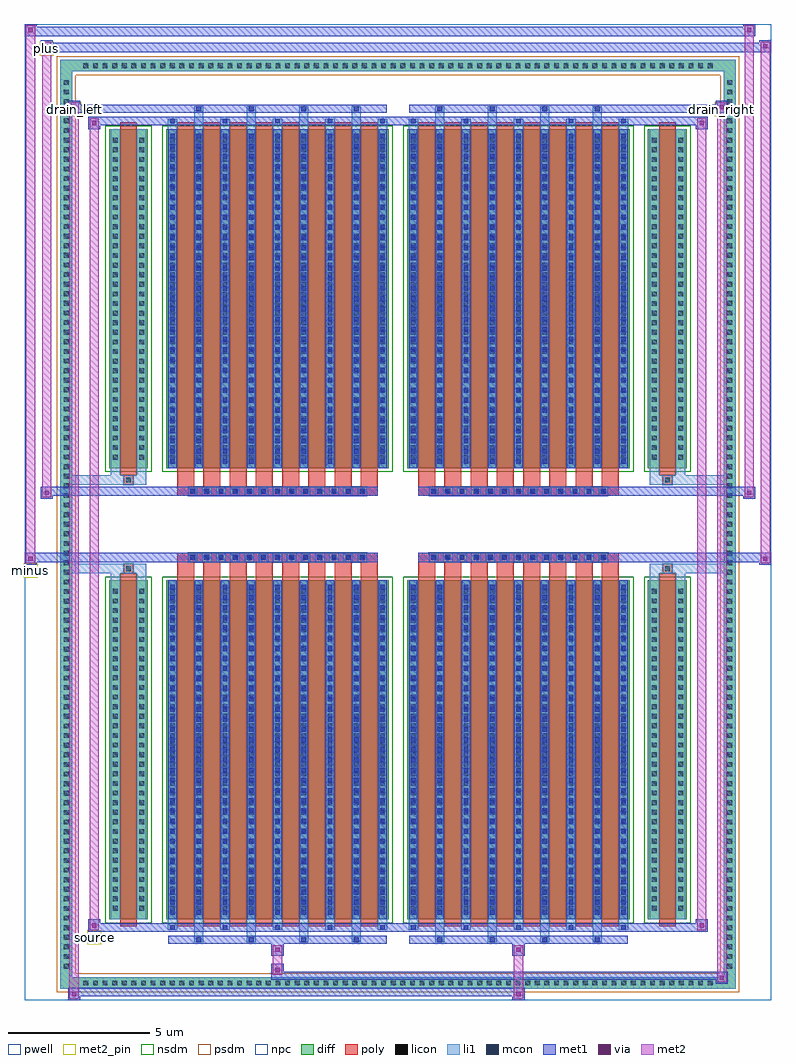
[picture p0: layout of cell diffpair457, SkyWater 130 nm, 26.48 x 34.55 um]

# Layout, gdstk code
import gdstk
lib = gdstk.Library(unit=1e-6, precision=5e-09)
def R(c, l, rs):  # rectangles x0, y0, x1, y1
    for r in rs: c.add(gdstk.rectangle(r[:2], r[2:], *l))
def A(c, l, x, y, w, h, nx, ny, dx, dy):  # array of equal rectangles
    R(c, l, [(x+i*dx, y+j*dy, x+i*dx+w, y+j*dy+h) for i in range(nx) for j in range(ny)])
def P(c, l, *ps):  # polygons
    for p in ps: c.add(gdstk.Polygon(p, *l))
pwell = (64, 44)
diff = (65, 20)
poly = (66, 20)
licon = (66, 44)
li1 = (67, 20)
mcon = (67, 44)
met1 = (68, 20)
via = (68, 44)
met2_pin = (69, 16)
met2 = (69, 20)
nsdm = (93, 44)
psdm = (94, 20)
npc = (95, 20)

diffpair457 = lib.new_cell('diffpair457')
R(diffpair457, pwell, [(-13.22,-16.84,13.22,17.71), (-10.54,-15.03,-0.01,-0.805), (0.01,-15.03,10.54,-0.805), (-10.54,0.805,-0.01,15.03), (0.01,0.805,10.54,15.03)])
A(diffpair457, diff, -11.255, -16.44, 0.41, 0.41, 66, 2, 0.34, 32.47)
A(diffpair457, diff, -11.95, -15.845, 0.41, 0.41, 1, 93, 0, 0.34)
A(diffpair457, diff, 11.54, -15.845, 0.41, 0.41, 1, 93, 0, 0.34)
R(diffpair457, diff, [(-11.255,-16.44,11.255,-16.03), (-11.95,-15.845,-11.54,15.845), (11.54,-15.845,11.95,15.845), (-10.23,-13.985,-8.85,-1.985), (-8.21,-13.985,-0.32,-1.985), (0.32,-13.985,8.21,-1.985), (8.85,-13.985,10.23,-1.985), (-10.23,1.985,-8.85,13.985), (-8.21,1.985,-0.32,13.985), (0.32,1.985,8.21,13.985), (8.85,1.985,10.23,13.985), (-11.255,16.03,11.255,16.44)])
P(diffpair457, diff, [(11.95,16.44),(-11.95,16.44),(-11.95,-16.03),(-11.54,-16.03),(-11.54,16.03),(11.54,16.03),(11.54,-16.03),(-11.54,-16.03),(-11.95,-16.03),(-11.95,-16.44),(11.95,-16.44)])
A(diffpair457, poly, -7.82, -14.235, 0.6, 12.5, 8, 2, 0.93, 15.97)
A(diffpair457, poly, 0.71, -14.235, 0.6, 12.5, 8, 2, 0.93, 15.97)
A(diffpair457, poly, -7.82, -1.735, 0.6, 0.4, 8, 2, 0.93, 3.07)
A(diffpair457, poly, 0.71, -1.735, 0.6, 0.4, 8, 2, 0.93, 3.07)
A(diffpair457, poly, -7.43, -1.335, 0.33, 0.33, 13, 2, 0.5, 2.34)
A(diffpair457, poly, 1.1, -1.335, 0.33, 0.33, 13, 2, 0.5, 2.34)
R(diffpair457, poly, [(-9.84,-14.235,-9.24,-1.735), (9.24,-14.235,9.84,-1.735), (-9.705,-1.735,-9.375,-1.405), (-9.705,-1.735,-9.375,-1.405), (9.375,-1.735,9.705,-1.405), (9.375,-1.735,9.705,-1.405), (-7.82,-1.335,-0.71,-1.005), (0.71,-1.335,7.82,-1.005), (-7.82,1.005,-0.71,1.335), (0.71,1.005,7.82,1.335), (-9.705,1.405,-9.375,1.735), (-9.705,1.405,-9.375,1.735), (9.375,1.405,9.705,1.735), (9.375,1.405,9.705,1.735), (-9.84,1.735,-9.24,14.235), (9.24,1.735,9.84,14.235)])
A(diffpair457, licon, -11.135, -16.32, 0.17, 0.17, 66, 2, 0.34, 32.47)
A(diffpair457, licon, -11.83, -15.725, 0.17, 0.17, 1, 93, 0, 0.34)
A(diffpair457, licon, 11.66, -15.725, 0.17, 0.17, 1, 93, 0, 0.34)
A(diffpair457, licon, -10.09, -13.68, 0.17, 0.17, 1, 34, 0, 0.34)
A(diffpair457, licon, -9.16, -13.68, 0.17, 0.17, 1, 34, 0, 0.34)
A(diffpair457, licon, -8.07, -13.68, 0.17, 0.17, 9, 34, 0.93, 0.34)
A(diffpair457, licon, 0.46, -13.68, 0.17, 0.17, 9, 34, 0.93, 0.34)
A(diffpair457, licon, 8.99, -13.68, 0.17, 0.17, 1, 34, 0, 0.34)
A(diffpair457, licon, 9.92, -13.68, 0.17, 0.17, 1, 34, 0, 0.34)
A(diffpair457, licon, -7.35, -1.255, 0.17, 0.17, 13, 2, 0.5, 2.34)
A(diffpair457, licon, 1.18, -1.255, 0.17, 0.17, 13, 2, 0.5, 2.34)
A(diffpair457, licon, -10.09, 2.29, 0.17, 0.17, 1, 34, 0, 0.34)
A(diffpair457, licon, -9.16, 2.29, 0.17, 0.17, 1, 34, 0, 0.34)
A(diffpair457, licon, -8.07, 2.29, 0.17, 0.17, 9, 34, 0.93, 0.34)
A(diffpair457, licon, 0.46, 2.29, 0.17, 0.17, 9, 34, 0.93, 0.34)
A(diffpair457, licon, 8.99, 2.29, 0.17, 0.17, 1, 34, 0, 0.34)
A(diffpair457, licon, 9.92, 2.29, 0.17, 0.17, 1, 34, 0, 0.34)
R(diffpair457, licon, [(-9.625,-1.655,-9.455,-1.485), (9.455,-1.655,9.625,-1.485), (-9.625,1.485,-9.455,1.655), (9.455,1.485,9.625,1.655)])
A(diffpair457, li1, -11.215, -16.4, 0.33, 0.33, 66, 2, 0.34, 32.47)
A(diffpair457, li1, -11.91, -15.805, 0.33, 0.33, 1, 93, 0, 0.34)
A(diffpair457, li1, 11.58, -15.805, 0.33, 0.33, 1, 93, 0, 0.34)
A(diffpair457, li1, -7.22, -14.79, 0.33, 0.805, 4, 2, 1.86, 28.775)
A(diffpair457, li1, -7.14, -14.79, 0.17, 0.17, 4, 2, 1.86, 29.41)
A(diffpair457, li1, 1.31, -14.79, 0.33, 0.805, 4, 2, 1.86, 28.775)
A(diffpair457, li1, 1.39, -14.79, 0.17, 0.17, 4, 2, 1.86, 29.41)
A(diffpair457, li1, -8.15, -14.36, 0.33, 0.375, 5, 2, 1.86, 28.345)
A(diffpair457, li1, -8.07, -14.36, 0.17, 0.17, 5, 2, 1.86, 28.55)
A(diffpair457, li1, 0.38, -14.36, 0.33, 0.375, 5, 2, 1.86, 28.345)
A(diffpair457, li1, 0.46, -14.36, 0.17, 0.17, 5, 2, 1.86, 28.55)
A(diffpair457, li1, -8.15, -13.985, 0.33, 12, 9, 2, 0.93, 15.97)
A(diffpair457, li1, 0.38, -13.985, 0.33, 12, 9, 2, 0.93, 15.97)
A(diffpair457, li1, -8.07, -13.83, 0.17, 0.17, 9, 33, 0.93, 0.36)
A(diffpair457, li1, -8.07, -13.83, 0.17, 11.69, 9, 2, 0.93, 15.97)
A(diffpair457, li1, 0.46, -13.83, 0.17, 0.17, 9, 33, 0.93, 0.36)
A(diffpair457, li1, 0.46, -13.83, 0.17, 11.69, 9, 2, 0.93, 15.97)
A(diffpair457, li1, -10.17, -13.76, 0.33, 0.33, 1, 34, 0, 0.34)
A(diffpair457, li1, -9.24, -13.76, 0.33, 0.33, 1, 34, 0, 0.34)
A(diffpair457, li1, -8.15, -13.76, 0.33, 0.33, 9, 34, 0.93, 0.34)
A(diffpair457, li1, 0.38, -13.76, 0.33, 0.33, 9, 34, 0.93, 0.34)
A(diffpair457, li1, 8.91, -13.76, 0.33, 0.33, 1, 34, 0, 0.34)
A(diffpair457, li1, 9.84, -13.76, 0.33, 0.33, 1, 34, 0, 0.34)
A(diffpair457, li1, -7.43, -1.335, 0.33, 0.33, 13, 2, 0.5, 2.34)
A(diffpair457, li1, 1.1, -1.335, 0.33, 0.33, 13, 2, 0.5, 2.34)
A(diffpair457, li1, -8.07, 2.14, 0.17, 0.17, 9, 33, 0.93, 0.36)
A(diffpair457, li1, 0.46, 2.14, 0.17, 0.17, 9, 33, 0.93, 0.36)
A(diffpair457, li1, -10.17, 2.21, 0.33, 0.33, 1, 34, 0, 0.34)
A(diffpair457, li1, -9.24, 2.21, 0.33, 0.33, 1, 34, 0, 0.34)
A(diffpair457, li1, -8.15, 2.21, 0.33, 0.33, 9, 34, 0.93, 0.34)
A(diffpair457, li1, 0.38, 2.21, 0.33, 0.33, 9, 34, 0.93, 0.34)
A(diffpair457, li1, 8.91, 2.21, 0.33, 0.33, 1, 34, 0, 0.34)
A(diffpair457, li1, 9.84, 2.21, 0.33, 0.33, 1, 34, 0, 0.34)
R(diffpair457, li1, [(-11.95,-16.44,-11.54,-16.03), (-11.95,-16.44,-11.54,-16.03), (-11.54,-16.44,11.54,-16.03), (11.54,-16.44,11.95,-16.03), (11.54,-16.44,11.95,-16.03), (-11.95,-16.03,-11.54,16.03), (11.54,-16.03,11.95,16.03), (-10.17,-13.985,-9.84,-1.985), (-9.24,-13.985,-8.91,-1.985), (8.91,-13.985,9.24,-1.985), (9.84,-13.985,10.17,-1.985), (-10.17,-1.985,-9.84,-1.405), (-9.24,-1.985,-8.91,-1.405), (8.91,-1.985,9.24,-1.405), (9.84,-1.985,10.17,-1.405), (-11.95,-1.735,-9.705,-1.405), (-10.17,-1.735,-9.705,-1.405), (-9.705,-1.735,-9.375,-1.405), (-9.375,-1.735,-8.91,-1.405), (8.91,-1.735,9.375,-1.405), (9.375,-1.735,9.705,-1.405), (9.375,-1.735,11.95,-1.405), (9.705,-1.735,10.17,-1.405), (-11.95,1.405,-9.705,1.735), (-10.17,1.405,-9.705,1.735), (-10.17,1.405,-9.84,1.985), (-9.705,1.405,-9.375,1.735), (-9.375,1.405,-8.91,1.735), (-9.24,1.405,-8.91,1.985), (8.91,1.405,9.375,1.735), (8.91,1.405,9.24,1.985), (9.375,1.405,9.705,1.735), (9.375,1.405,11.95,1.735), (9.705,1.405,10.17,1.735), (9.84,1.405,10.17,1.985), (-10.17,1.985,-9.84,13.985), (-9.24,1.985,-8.91,13.985), (8.91,1.985,9.24,13.985), (9.84,1.985,10.17,13.985), (-11.95,16.03,-11.54,16.44), (-11.95,16.03,-11.54,16.44), (-11.54,16.03,11.54,16.44), (11.54,16.03,11.95,16.44), (11.54,16.03,11.95,16.44)])
A(diffpair457, mcon, -7.14, -14.79, 0.17, 0.17, 4, 2, 1.86, 29.41)
A(diffpair457, mcon, 1.39, -14.79, 0.17, 0.17, 4, 2, 1.86, 29.41)
A(diffpair457, mcon, -8.07, -14.36, 0.17, 0.17, 5, 2, 1.86, 28.55)
A(diffpair457, mcon, 0.46, -14.36, 0.17, 0.17, 5, 2, 1.86, 28.55)
A(diffpair457, mcon, -8.07, -13.83, 0.17, 0.17, 9, 33, 0.93, 0.36)
A(diffpair457, mcon, 0.46, -13.83, 0.17, 0.17, 9, 33, 0.93, 0.36)
A(diffpair457, mcon, -7.35, -1.255, 0.17, 0.17, 13, 2, 0.5, 2.34)
A(diffpair457, mcon, 1.18, -1.255, 0.17, 0.17, 13, 2, 0.5, 2.34)
A(diffpair457, mcon, -8.07, 2.14, 0.17, 0.17, 9, 33, 0.93, 0.36)
A(diffpair457, mcon, 0.46, 2.14, 0.17, 0.17, 9, 33, 0.93, 0.36)
A(diffpair457, met1, -7.2, -14.85, 0.29, 0.29, 4, 2, 1.86, 29.41)
A(diffpair457, met1, 1.33, -14.85, 0.29, 0.29, 4, 2, 1.86, 29.41)
A(diffpair457, met1, -8.13, -14.42, 0.29, 0.29, 5, 2, 1.86, 28.55)
A(diffpair457, met1, 0.4, -14.42, 0.29, 0.29, 5, 2, 1.86, 28.55)
A(diffpair457, met1, -8.13, -13.985, 0.29, 12, 9, 2, 0.93, 15.97)
A(diffpair457, met1, 0.4, -13.985, 0.29, 12, 9, 2, 0.93, 15.97)
A(diffpair457, met1, -8.13, -13.89, 0.29, 0.29, 9, 33, 0.93, 0.36)
A(diffpair457, met1, 0.4, -13.89, 0.29, 0.29, 9, 33, 0.93, 0.36)
A(diffpair457, met1, -7.41, -1.315, 0.29, 0.29, 13, 2, 0.5, 2.34)
A(diffpair457, met1, 1.12, -1.315, 0.29, 0.29, 13, 2, 0.5, 2.34)
A(diffpair457, met1, -8.13, 2.08, 0.29, 0.29, 9, 33, 0.93, 0.36)
A(diffpair457, met1, 0.4, 2.08, 0.29, 0.29, 9, 33, 0.93, 0.36)
R(diffpair457, met1, [(-11.68,-16.84,-11.25,-16.41), (4.05,-16.84,4.48,-16.41), (-11.68,-16.7,4.48,-16.41), (11.25,-16.27,11.68,-15.84), (-4.48,-16.13,11.68,-15.84), (-4.48,-15.99,-4.05,-15.56), (-4.48,-15.28,-4.05,-14.85), (4.05,-15.28,4.48,-14.85), (-8.13,-14.85,-0.4,-14.56), (0.4,-14.85,8.13,-14.56), (-10.97,-14.42,-10.54,-13.99), (-10.97,-14.42,-8.13,-14.13), (-8.13,-14.42,-0.4,-14.13), (-0.4,-14.42,0.4,-14.13), (0.4,-14.42,8.13,-14.13), (8.13,-14.42,10.97,-14.13), (10.54,-14.42,10.97,-13.99), (-13.22,-1.435,-12.79,-1.005), (12.79,-1.435,13.22,-1.005), (-13.22,-1.335,-0.71,-1.005), (-7.82,-1.335,-0.71,-1.005), (0.71,-1.335,7.82,-1.005), (0.71,-1.335,13.22,-1.005), (-12.65,0.905,-12.22,1.335), (12.22,0.905,12.65,1.335), (-12.65,1.005,-7.82,1.335), (-7.82,1.005,-0.71,1.335), (0.71,1.005,7.82,1.335), (7.82,1.005,12.65,1.335), (-10.97,13.99,-10.54,14.42), (10.54,13.99,10.97,14.42), (-10.97,14.13,-8.13,14.42), (-8.13,14.13,-0.4,14.42), (-0.4,14.13,0.4,14.42), (0.4,14.13,8.13,14.42), (8.13,14.13,10.97,14.42), (-11.68,14.56,-11.25,14.99), (-11.68,14.56,-8.13,14.85), (-8.13,14.56,-0.4,14.85), (0.4,14.56,8.13,14.85), (8.13,14.56,11.68,14.85), (11.25,14.56,11.68,14.99), (-12.65,16.71,-12.22,17.14), (-12.65,16.71,-10.54,17.04), (-10.54,16.71,10.54,17.04), (10.54,16.71,13.22,17.04), (12.79,16.71,13.22,17.14), (-13.22,17.28,-12.79,17.71), (-13.22,17.28,-10.54,17.61), (-10.54,17.28,10.54,17.61), (10.54,17.28,12.65,17.61), (12.22,17.28,12.65,17.71)])
R(diffpair457, via, [(-11.54,-16.7,-11.39,-16.55), (4.19,-16.7,4.34,-16.55), (11.39,-16.13,11.54,-15.98), (-4.34,-15.85,-4.19,-15.7), (-4.34,-15.14,-4.19,-14.99), (4.19,-15.14,4.34,-14.99), (-10.83,-14.28,-10.68,-14.13), (10.68,-14.28,10.83,-14.13), (-13.08,-1.295,-12.93,-1.145), (12.93,-1.295,13.08,-1.145), (-12.51,1.045,-12.36,1.195), (12.36,1.045,12.51,1.195), (-10.83,14.13,-10.68,14.28), (10.68,14.13,10.83,14.28), (-11.54,14.7,-11.39,14.85), (11.39,14.7,11.54,14.85), (-12.51,16.85,-12.36,17), (12.93,16.85,13.08,17), (-13.08,17.42,-12.93,17.57), (12.36,17.42,12.51,17.57)])
R(diffpair457, met2_pin, [(-11.005,-14.87,-10.505,-14.37), (-13.255,-1.885,-12.755,-1.385), (-11.715,14.44,-11.215,14.94), (11.215,14.44,11.715,14.94), (-12.685,16.59,-12.185,17.09)])
R(diffpair457, met2, [(-11.63,-16.79,-11.3,-16.46), (-11.63,-16.79,-11.3,14.94), (4.1,-16.79,4.43,-16.46), (4.1,-16.46,4.43,-15.23), (11.3,-16.22,11.63,-15.89), (11.3,-16.22,11.63,14.94), (-4.43,-15.94,-4.1,-15.61), (-4.43,-15.61,-4.1,-15.23), (-4.43,-15.23,-4.1,-14.9), (4.1,-15.23,4.43,-14.9), (-10.92,-14.37,-10.59,-14.04), (-10.92,-14.37,-10.59,14.37), (10.59,-14.37,10.92,-14.04), (10.59,-14.37,10.92,14.37), (-13.17,-1.385,-12.84,-1.055), (-13.17,-1.385,-12.84,17.66), (12.84,-1.385,13.17,-1.055), (12.84,-1.385,13.17,17.09), (-12.6,0.955,-12.27,1.285), (-12.6,0.955,-12.27,17.09), (12.27,0.955,12.6,1.285), (12.27,0.955,12.6,17.66), (-10.92,14.04,-10.59,14.37), (10.59,14.04,10.92,14.37), (-11.63,14.61,-11.3,14.94), (11.3,14.61,11.63,14.94), (-12.6,16.76,-12.27,17.09), (12.84,16.76,13.17,17.09), (-13.17,17.33,-12.84,17.66), (12.27,17.33,12.6,17.66)])
P(diffpair457, met2, [(13.17,-1.385),(13.17,-1.385),(13.17,-1.055),(13.17,-1.055)],
  [(13.17,16.76),(13.17,16.76),(13.17,17.09),(13.17,17.09)],
  [(-12.84,-1.385),(-12.84,-1.385),(-12.84,-1.055),(-12.84,-1.055)],
  [(-12.84,17.33),(-12.84,17.33),(-12.84,17.66),(-12.84,17.66)],
  [(12.6,0.955),(12.6,0.955),(12.6,1.285),(12.6,1.285)],
  [(12.6,17.33),(12.6,17.33),(12.6,17.66),(12.6,17.66)],
  [(-12.27,0.955),(-12.27,0.955),(-12.27,1.285),(-12.27,1.285)],
  [(-12.27,16.76),(-12.27,16.76),(-12.27,17.09),(-12.27,17.09)],
  [(-11.3,-16.79),(-11.3,-16.79),(-11.3,-16.46),(-11.3,-16.46)],
  [(-11.3,14.61),(-11.3,14.61),(-11.3,14.94),(-11.3,14.94)],
  [(11.63,-16.22),(11.63,-16.22),(11.63,-15.89),(11.63,-15.89)],
  [(11.63,14.61),(11.63,14.61),(11.63,14.94),(11.63,14.94)],
  [(-10.59,-14.37),(-10.59,-14.37),(-10.59,-14.04),(-10.59,-14.04)],
  [(-10.59,14.04),(-10.59,14.04),(-10.59,14.37),(-10.59,14.37)],
  [(10.92,-14.37),(10.92,-14.37),(10.92,-14.04),(10.92,-14.04)],
  [(10.92,14.04),(10.92,14.04),(10.92,14.37),(10.92,14.37)])
R(diffpair457, nsdm, [(-10.36,-14.115,-8.72,-1.855), (-8.34,-14.115,-0.19,-1.855), (0.19,-14.115,8.34,-1.855), (8.72,-14.115,10.36,-1.855), (-10.36,1.855,-8.72,14.115), (-8.34,1.855,-0.19,14.115), (0.19,1.855,8.34,14.115), (8.72,1.855,10.36,14.115)])
P(diffpair457, psdm, [(12.08,16.57),(-12.08,16.57),(-12.08,-15.9),(-11.41,-15.9),(-11.41,15.9),(11.41,15.9),(11.41,-15.9),(-11.41,-15.9),(-12.08,-15.9),(-12.08,-16.57),(12.08,-16.57)])
A(diffpair457, npc, -7.45, -1.355, 0.37, 0.37, 13, 2, 0.5, 2.34)
A(diffpair457, npc, 1.08, -1.355, 0.37, 0.37, 13, 2, 0.5, 2.34)
R(diffpair457, npc, [(-9.725,-1.755,-9.355,-1.385), (9.355,-1.755,9.725,-1.385), (-7.45,-1.355,-6.58,-0.985), (-7.45,-1.355,-6.58,-0.985), (-6.95,-1.355,-6.08,-0.985), (-6.95,-1.355,-6.08,-0.985), (-6.45,-1.355,-5.58,-0.985), (-6.45,-1.355,-5.58,-0.985), (-5.95,-1.355,-5.08,-0.985), (-5.95,-1.355,-5.08,-0.985), (-5.45,-1.355,-4.58,-0.985), (-5.45,-1.355,-4.58,-0.985), (-4.95,-1.355,-4.08,-0.985), (-4.95,-1.355,-4.08,-0.985), (-4.45,-1.355,-3.58,-0.985), (-4.45,-1.355,-3.58,-0.985), (-3.95,-1.355,-3.08,-0.985), (-3.95,-1.355,-3.08,-0.985), (-3.45,-1.355,-2.58,-0.985), (-3.45,-1.355,-2.58,-0.985), (-2.95,-1.355,-2.08,-0.985), (-2.95,-1.355,-2.08,-0.985), (-2.45,-1.355,-1.58,-0.985), (-2.45,-1.355,-1.58,-0.985), (-1.95,-1.355,-1.08,-0.985), (-1.95,-1.355,-1.08,-0.985), (1.08,-1.355,1.95,-0.985), (1.08,-1.355,1.95,-0.985), (1.58,-1.355,2.45,-0.985), (1.58,-1.355,2.45,-0.985), (2.08,-1.355,2.95,-0.985), (2.08,-1.355,2.95,-0.985), (2.58,-1.355,3.45,-0.985), (2.58,-1.355,3.45,-0.985), (3.08,-1.355,3.95,-0.985), (3.08,-1.355,3.95,-0.985), (3.58,-1.355,4.45,-0.985), (3.58,-1.355,4.45,-0.985), (4.08,-1.355,4.95,-0.985), (4.08,-1.355,4.95,-0.985), (4.58,-1.355,5.45,-0.985), (4.58,-1.355,5.45,-0.985), (5.08,-1.355,5.95,-0.985), (5.08,-1.355,5.95,-0.985), (5.58,-1.355,6.45,-0.985), (5.58,-1.355,6.45,-0.985), (6.08,-1.355,6.95,-0.985), (6.08,-1.355,6.95,-0.985), (6.58,-1.355,7.45,-0.985), (6.58,-1.355,7.45,-0.985), (-7.45,0.985,-6.58,1.355), (-7.45,0.985,-6.58,1.355), (-6.95,0.985,-6.08,1.355), (-6.95,0.985,-6.08,1.355), (-6.45,0.985,-5.58,1.355), (-6.45,0.985,-5.58,1.355), (-5.95,0.985,-5.08,1.355), (-5.95,0.985,-5.08,1.355), (-5.45,0.985,-4.58,1.355), (-5.45,0.985,-4.58,1.355), (-4.95,0.985,-4.08,1.355), (-4.95,0.985,-4.08,1.355), (-4.45,0.985,-3.58,1.355), (-4.45,0.985,-3.58,1.355), (-3.95,0.985,-3.08,1.355), (-3.95,0.985,-3.08,1.355), (-3.45,0.985,-2.58,1.355), (-3.45,0.985,-2.58,1.355), (-2.95,0.985,-2.08,1.355), (-2.95,0.985,-2.08,1.355), (-2.45,0.985,-1.58,1.355), (-2.45,0.985,-1.58,1.355), (-1.95,0.985,-1.08,1.355), (-1.95,0.985,-1.08,1.355), (1.08,0.985,1.95,1.355), (1.08,0.985,1.95,1.355), (1.58,0.985,2.45,1.355), (1.58,0.985,2.45,1.355), (2.08,0.985,2.95,1.355), (2.08,0.985,2.95,1.355), (2.58,0.985,3.45,1.355), (2.58,0.985,3.45,1.355), (3.08,0.985,3.95,1.355), (3.08,0.985,3.95,1.355), (3.58,0.985,4.45,1.355), (3.58,0.985,4.45,1.355), (4.08,0.985,4.95,1.355), (4.08,0.985,4.95,1.355), (4.58,0.985,5.45,1.355), (4.58,0.985,5.45,1.355), (5.08,0.985,5.95,1.355), (5.08,0.985,5.95,1.355), (5.58,0.985,6.45,1.355), (5.58,0.985,6.45,1.355), (6.08,0.985,6.95,1.355), (6.08,0.985,6.95,1.355), (6.58,0.985,7.45,1.355), (6.58,0.985,7.45,1.355), (-9.725,1.385,-9.355,1.755), (9.355,1.385,9.725,1.755)])
diffpair457.add(gdstk.Label('minus', (-13.005,-1.635), layer=69, texttype=5))
diffpair457.add(gdstk.Label('drain_right', (11.465,14.69), layer=69, texttype=5))
diffpair457.add(gdstk.Label('drain_left', (-11.465,14.69), layer=69, texttype=5))
diffpair457.add(gdstk.Label('source', (-10.755,-14.62), layer=69, texttype=5))
diffpair457.add(gdstk.Label('plus', (-12.435,16.84), layer=69, texttype=5))

lib.write_gds('diffpair457.gds')
